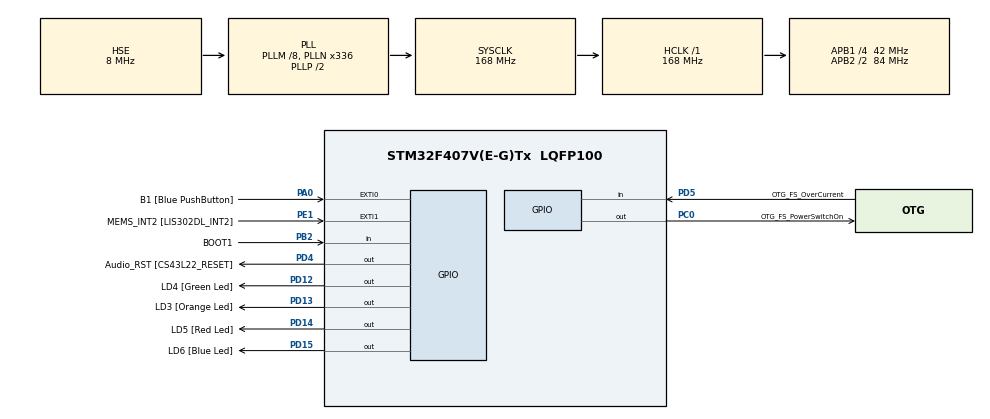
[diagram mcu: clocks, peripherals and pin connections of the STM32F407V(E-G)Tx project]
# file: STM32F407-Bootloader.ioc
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Mcu.Family=STM32F4
Mcu.Name=STM32F407V(E-G)Tx
Mcu.Package=LQFP100
NVIC.PriorityGroup=NVIC_PRIORITYGROUP_0
PA0-WKUP.GPIO_Label=B1 [Blue PushButton]
PA0-WKUP.GPIO_ModeDefaultEXTI=GPIO_MODE_EVT_RISING
PA0-WKUP.GPIO_PuPd=GPIO_NOPULL
PA0-WKUP.Signal=GPXTI0
PA10.GPIO_Label=OTG_FS_ID
PA10.GPIO_Mode=GPIO_MODE_AF_PP
PA10.GPIO_PuPd=GPIO_NOPULL
PA10.GPIO_Speed=GPIO_SPEED_FREQ_LOW
PA10.Signal=USB_OTG_FS_ID
PA11.GPIO_Label=OTG_FS_DM
PA11.GPIO_Mode=GPIO_MODE_AF_PP
PA11.GPIO_PuPd=GPIO_NOPULL
PA11.GPIO_Speed=GPIO_SPEED_FREQ_LOW
PA11.Signal=USB_OTG_FS_DM
PA12.GPIO_Label=OTG_FS_DP
PA12.GPIO_Mode=GPIO_MODE_AF_PP
PA12.GPIO_PuPd=GPIO_NOPULL
PA12.GPIO_Speed=GPIO_SPEED_FREQ_LOW
PA12.Signal=USB_OTG_FS_DP
PA13.GPIO_Label=SWDIO
PA13.Mode=Serial_Wire
PA13.Signal=SYS_JTMS-SWDIO
PA14.GPIO_Label=SWCLK
PA14.Mode=Serial_Wire
PA14.Signal=SYS_JTCK-SWCLK
PA4.GPIO_Label=I2S3_WS [CS43L22_LRCK]
PA4.GPIO_Mode=GPIO_MODE_AF_PP
PA4.GPIO_PuPd=GPIO_NOPULL
PA4.GPIO_Speed=GPIO_SPEED_FREQ_LOW
PA4.Signal=I2S3_WS
PA5.GPIO_Label=SPI1_SCK [LIS302DL_SCL/SPC]
PA5.GPIO_Mode=GPIO_MODE_AF_PP
PA5.GPIO_PuPd=GPIO_NOPULL
PA5.GPIO_Speed=GPIO_SPEED_FREQ_LOW
PA5.Signal=SPI1_SCK
PA6.GPIO_Label=SPI1_MISO [LIS302DL_SDO]
PA6.GPIO_Mode=GPIO_MODE_AF_PP
PA6.GPIO_PuPd=GPIO_NOPULL
PA6.GPIO_Speed=GPIO_SPEED_FREQ_LOW
PA6.Signal=SPI1_MISO
PA7.GPIO_Label=SPI1_MOSI [LIS302DL_SDA/SDI/SDO]
PA7.GPIO_Mode=GPIO_MODE_AF_PP
PA7.GPIO_PuPd=GPIO_NOPULL
PA7.GPIO_Speed=GPIO_SPEED_FREQ_LOW
PA7.Signal=SPI1_MOSI
PA9.GPIO_Label=VBUS_FS
PA9.GPIO_Mode=GPIO_MODE_INPUT
PA9.GPIO_PuPd=GPIO_NOPULL
PA9.Signal=USB_OTG_FS_VBUS
PB10.GPIO_Label=CLK_IN [MP45DT02_CLK]
PB10.GPIO_Mode=GPIO_MODE_AF_PP
PB10.GPIO_PuPd=GPIO_NOPULL
PB10.GPIO_Speed=GPIO_SPEED_FREQ_LOW
PB10.Signal=I2S2_CK
PB2.GPIO_Label=BOOT1
PB2.GPIO_Mode=GPIO_MODE_INPUT
PB2.GPIO_PuPd=GPIO_NOPULL
PB2.Signal=GPIO_Input
PB3.GPIO_Label=SWO
PB3.Signal=SYS_JTDO-SWO
PB6.GPIO_Label=Audio_SCL [CS43L22_SCL]
PB6.GPIO_Mode=GPIO_MODE_AF_OD
PB6.GPIO_PuPd=GPIO_NOPULL
PB6.GPIO_Speed=GPIO_SPEED_FREQ_LOW
PB6.Signal=I2C1_SCL
PB9.GPIO_Label=Audio_SDA [CS43L22_SDA]
PB9.GPIO_Mode=GPIO_MODE_AF_OD
PB9.GPIO_PuPd=GPIO_NOPULL
PB9.GPIO_Speed=GPIO_SPEED_FREQ_LOW
PB9.Signal=I2C1_SDA
PC0.GPIO_Label=OTG_FS_PowerSwitchOn
PC0.GPIO_PuPd=GPIO_NOPULL
PC0.GPIO_Speed=GPIO_SPEED_FREQ_LOW
PC0.PinState=GPIO_PIN_SET
PC0.Signal=GPIO_Output
PC10.GPIO_Label=I2S3_SCK [CS43L22_SCLK]
PC10.GPIO_Mode=GPIO_MODE_AF_PP
PC10.GPIO_PuPd=GPIO_NOPULL
PC10.GPIO_Speed=GPIO_SPEED_FREQ_LOW
PC10.Signal=I2S3_CK
PC12.GPIO_Label=I2S3_SD [CS43L22_SDIN]
PC12.GPIO_Mode=GPIO_MODE_AF_PP
PC12.GPIO_PuPd=GPIO_NOPULL
PC12.GPIO_Speed=GPIO_SPEED_FREQ_LOW
PC12.Signal=I2S3_SD
PC14-OSC32_IN.GPIO_Label=PC14-OSC32_IN
PC14-OSC32_IN.Mode=LSE-External-Oscillator
PC14-OSC32_IN.Signal=RCC_OSC32_IN
PC15-OSC32_OUT.GPIO_Label=PC15-OSC32_OUT
PC15-OSC32_OUT.Mode=LSE-External-Oscillator
PC15-OSC32_OUT.Signal=RCC_OSC32_OUT
PC3.GPIO_Label=PDM_OUT [MP45DT02_DOUT]
PC3.GPIO_Mode=GPIO_MODE_AF_PP
PC3.GPIO_PuPd=GPIO_NOPULL
PC3.GPIO_Speed=GPIO_SPEED_FREQ_LOW
PC3.Signal=I2S2_SD
PC7.GPIO_Label=I2S3_MCK [CS43L22_MCLK]
PC7.GPIO_Mode=GPIO_MODE_AF_PP
PC7.GPIO_PuPd=GPIO_NOPULL
PC7.GPIO_Speed=GPIO_SPEED_FREQ_LOW
PC7.Signal=I2S3_MCK
PD12.GPIO_Label=LD4 [Green Led]
PD12.GPIO_PuPd=GPIO_NOPULL
PD12.GPIO_Speed=GPIO_SPEED_FREQ_LOW
PD12.PinState=GPIO_PIN_SET
PD12.Signal=GPIO_Output
PD13.GPIO_Label=LD3 [Orange Led]
PD13.GPIO_PuPd=GPIO_NOPULL
PD13.GPIO_Speed=GPIO_SPEED_FREQ_LOW
PD13.Signal=GPIO_Output
PD14.GPIO_Label=LD5 [Red Led]
PD14.GPIO_PuPd=GPIO_NOPULL
PD14.GPIO_Speed=GPIO_SPEED_FREQ_LOW
PD14.Signal=GPIO_Output
PD15.GPIO_Label=LD6 [Blue Led]
PD15.GPIO_PuPd=GPIO_NOPULL
PD15.GPIO_Speed=GPIO_SPEED_FREQ_LOW
PD15.Signal=GPIO_Output
PD4.GPIO_Label=Audio_RST [CS43L22_RESET]
PD4.GPIO_PuPd=GPIO_NOPULL
PD4.GPIO_Speed=GPIO_SPEED_FREQ_LOW
PD4.Signal=GPIO_Output
PD5.GPIO_Label=OTG_FS_OverCurrent
PD5.GPIO_Mode=GPIO_MODE_INPUT
PD5.GPIO_PuPd=GPIO_NOPULL
PD5.Signal=GPIO_Input
PE1.GPIO_Label=MEMS_INT2 [LIS302DL_INT2]
PE1.GPIO_ModeDefaultEXTI=GPIO_MODE_EVT_RISING
PE1.GPIO_PuPd=GPIO_NOPULL
PE1.Signal=GPXTI1
PH0-OSC_IN.GPIO_Label=PH0-OSC_IN
PH0-OSC_IN.Mode=HSE-External-Oscillator
PH0-OSC_IN.Signal=RCC_OSC_IN
PH1-OSC_OUT.GPIO_Label=PH1-OSC_OUT
PH1-OSC_OUT.Mode=HSE-External-Oscillator
PH1-OSC_OUT.Signal=RCC_OSC_OUT
ProjectManager.HeapSize=0x200
ProjectManager.StackSize=0x400
ProjectManager.TargetToolchain=STM32CubeIDE
RCC.48MHZClocksFreq_Value=48000000
RCC.AHBFreq_Value=168000000
RCC.APB1CLKDivider=RCC_HCLK_DIV4
RCC.APB1Freq_Value=42000000
RCC.APB1TimFreq_Value=84000000
RCC.APB2CLKDivider=RCC_HCLK_DIV2
RCC.APB2Freq_Value=84000000
RCC.APB2TimFreq_Value=168000000
RCC.CortexFreq_Value=168000000
RCC.HCLKFreq_Value=168000000
RCC.HSE_VALUE=8000000
RCC.HSI_VALUE=16000000
RCC.PLLM=8
RCC.PLLN=336
RCC.PLLQ=7
RCC.PLLSourceVirtual=RCC_PLLSOURCE_HSE
RCC.SYSCLKFreq_VALUE=168000000
RCC.SYSCLKSource=RCC_SYSCLKSOURCE_PLLCLK
RCC.VCOOutputFreq_Value=336000000
board=STM32F407G-DISC1

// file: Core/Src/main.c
/* USER CODE BEGIN Header */
/**
  ******************************************************************************
  * @file           : main.c
  * @brief          : Main program body
  ******************************************************************************
  * @attention
  *
  * <h2><center>&copy; Copyright (c) 2022 STMicroelectronics.
  * All rights reserved.</center></h2>
  *
  * This software component is licensed by ST under BSD 3-Clause license,
  * the "License"; You may not use this file except in compliance with the
  * License. You may obtain a copy of the License at:
  *                        opensource.org/licenses/BSD-3-Clause
  *
  ******************************************************************************
  */
/* USER CODE END Header */
#include "main.h"

/* USER CODE BEGIN PM */
#define LED_FLASH_COUNT 5u
/* USER CODE END PM */

void SystemClock_Config(void);
static void MX_GPIO_Init(void);
/* USER CODE BEGIN PFP */
void delay(void);
/* USER CODE END PFP */

int main(void)
{

  /* MCU Configuration--------------------------------------------------------*/

  /* Reset of all peripherals, Initializes the Flash interface and the Systick. */
  HAL_Init();

  /* Configure the system clock */
  SystemClock_Config();

  /* Initialize all configured peripherals */
  MX_GPIO_Init();

  /* Infinite loop */
  /* USER CODE BEGIN WHILE */
  while (1)
  {
	  /* Local variable to be used in delay */
	  int i;

    /* USER CODE END WHILE */

    /* USER CODE BEGIN 3 */
	  for(i=0;i<LED_FLASH_COUNT;i++)
	  {
		  /*Configure GPIO pin Output Level */
		  HAL_GPIO_WritePin(LD4_GPIO_Port, LD4_Pin, GPIO_PIN_RESET);

		  /* delay to keep LED off */
		  delay();

		  /*Configure GPIO pin Output Level */
		  HAL_GPIO_WritePin(LD4_GPIO_Port, LD4_Pin, GPIO_PIN_SET);

		  /* Delay to keep LED ON  */
		  delay();
	  }
	  HAL_GPIO_WritePin(LD4_GPIO_Port, LD4_Pin, GPIO_PIN_RESET);
	  for(i=0;i<LED_FLASH_COUNT;i++)
	  {
		  /*Configure GPIO pin Output Level */
		  HAL_GPIO_WritePin(LD4_GPIO_Port, LD6_Pin, GPIO_PIN_RESET);
		  HAL_GPIO_WritePin(LD4_GPIO_Port, LD3_Pin, GPIO_PIN_RESET);

		  /* delay to keep LED off */
		  delay();

		  /*Configure GPIO pin Output Level */
		  HAL_GPIO_WritePin(LD4_GPIO_Port, LD6_Pin, GPIO_PIN_SET);
		  HAL_GPIO_WritePin(LD4_GPIO_Port, LD3_Pin, GPIO_PIN_SET);
		  /* Delay to keep LED ON  */
		  delay();
	  }
	  HAL_GPIO_WritePin(LD4_GPIO_Port, LD6_Pin, GPIO_PIN_RESET);
	  HAL_GPIO_WritePin(LD4_GPIO_Port, LD3_Pin, GPIO_PIN_RESET);
	  for(i=0;i<LED_FLASH_COUNT;i++)
	  {
		  /*Configure GPIO pin Output Level */
		  HAL_GPIO_WritePin(LD4_GPIO_Port, LD5_Pin, GPIO_PIN_RESET);

		  /* delay to keep LED off */
		  delay();

		  /*Configure GPIO pin Output Level */
		  HAL_GPIO_WritePin(LD4_GPIO_Port, LD5_Pin, GPIO_PIN_SET);

		  /* Delay to keep LED ON  */
		  delay();
	  }
	  HAL_GPIO_WritePin(LD4_GPIO_Port, LD5_Pin, GPIO_PIN_RESET);
	  for(i=0;i<LED_FLASH_COUNT;i++)
	  {
		  /*Configure GPIO pin Output Level */
		  HAL_GPIO_WritePin(LD4_GPIO_Port, LD6_Pin, GPIO_PIN_RESET);
		  HAL_GPIO_WritePin(LD4_GPIO_Port, LD3_Pin, GPIO_PIN_RESET);

		  /* delay to keep LED off */
		  delay();

		  /*Configure GPIO pin Output Level */
		  HAL_GPIO_WritePin(LD4_GPIO_Port, LD6_Pin, GPIO_PIN_SET);
		  HAL_GPIO_WritePin(LD4_GPIO_Port, LD3_Pin, GPIO_PIN_SET);
		  /* Delay to keep LED ON  */
		  delay();
	  }
	  HAL_GPIO_WritePin(LD4_GPIO_Port, LD6_Pin, GPIO_PIN_RESET);
	  HAL_GPIO_WritePin(LD4_GPIO_Port, LD3_Pin, GPIO_PIN_RESET);
  }
  /* USER CODE END 3 */
}

void delay(void)
{
	int i,j;
	for(i=0;i<200u;i++)
	  for(j=0;j<3000u;j++);
}

void SystemClock_Config(void)
{
  RCC_OscInitTypeDef RCC_OscInitStruct = {0};
  RCC_ClkInitTypeDef RCC_ClkInitStruct = {0};

  /** Configure the main internal regulator output voltage
  */
  __HAL_RCC_PWR_CLK_ENABLE();
  __HAL_PWR_VOLTAGESCALING_CONFIG(PWR_REGULATOR_VOLTAGE_SCALE1);
  /** Initializes the RCC Oscillators according to the specified parameters
  * in the RCC_OscInitTypeDef structure.
  */
  RCC_OscInitStruct.OscillatorType = RCC_OSCILLATORTYPE_HSE;
  RCC_OscInitStruct.HSEState = RCC_HSE_ON;
  RCC_OscInitStruct.PLL.PLLState = RCC_PLL_ON;
  RCC_OscInitStruct.PLL.PLLSource = RCC_PLLSOURCE_HSE;
  RCC_OscInitStruct.PLL.PLLM = 8;
  RCC_OscInitStruct.PLL.PLLN = 336;
  RCC_OscInitStruct.PLL.PLLP = RCC_PLLP_DIV2;
  RCC_OscInitStruct.PLL.PLLQ = 7;
  if (HAL_RCC_OscConfig(&RCC_OscInitStruct) != HAL_OK)
  {
    Error_Handler();
  }
  /** Initializes the CPU, AHB and APB buses clocks
  */
  RCC_ClkInitStruct.ClockType = RCC_CLOCKTYPE_HCLK|RCC_CLOCKTYPE_SYSCLK
                              |RCC_CLOCKTYPE_PCLK1|RCC_CLOCKTYPE_PCLK2;
  RCC_ClkInitStruct.SYSCLKSource = RCC_SYSCLKSOURCE_PLLCLK;
  RCC_ClkInitStruct.AHBCLKDivider = RCC_SYSCLK_DIV1;
  RCC_ClkInitStruct.APB1CLKDivider = RCC_HCLK_DIV4;
  RCC_ClkInitStruct.APB2CLKDivider = RCC_HCLK_DIV2;

  if (HAL_RCC_ClockConfig(&RCC_ClkInitStruct, FLASH_LATENCY_5) != HAL_OK)
  {
    Error_Handler();
  }
}

static void MX_GPIO_Init(void)
{
  GPIO_InitTypeDef GPIO_InitStruct = {0};

  /* GPIO Ports Clock Enable */
  __HAL_RCC_GPIOC_CLK_ENABLE();
  __HAL_RCC_GPIOH_CLK_ENABLE();
  __HAL_RCC_GPIOA_CLK_ENABLE();
  __HAL_RCC_GPIOB_CLK_ENABLE();
  __HAL_RCC_GPIOD_CLK_ENABLE();
  __HAL_RCC_GPIOE_CLK_ENABLE();

  /*Configure GPIO pin Output Level */
  HAL_GPIO_WritePin(OTG_FS_PowerSwitchOn_GPIO_Port, OTG_FS_PowerSwitchOn_Pin, GPIO_PIN_SET);

  /*Configure GPIO pin Output Level */
  HAL_GPIO_WritePin(LD4_GPIO_Port, LD4_Pin, GPIO_PIN_SET);

  /*Configure GPIO pin Output Level */
  HAL_GPIO_WritePin(GPIOD, LD3_Pin|LD5_Pin|LD6_Pin|Audio_RST_Pin, GPIO_PIN_RESET);

  /*Configure GPIO pin : OTG_FS_PowerSwitchOn_Pin */
  GPIO_InitStruct.Pin = OTG_FS_PowerSwitchOn_Pin;
  GPIO_InitStruct.Mode = GPIO_MODE_OUTPUT_PP;
  GPIO_InitStruct.Pull = GPIO_NOPULL;
  GPIO_InitStruct.Speed = GPIO_SPEED_FREQ_LOW;
  HAL_GPIO_Init(OTG_FS_PowerSwitchOn_GPIO_Port, &GPIO_InitStruct);

  /*Configure GPIO pin : PDM_OUT_Pin */
  GPIO_InitStruct.Pin = PDM_OUT_Pin;
  GPIO_InitStruct.Mode = GPIO_MODE_AF_PP;
  GPIO_InitStruct.Pull = GPIO_NOPULL;
  GPIO_InitStruct.Speed = GPIO_SPEED_FREQ_LOW;
  GPIO_InitStruct.Alternate = GPIO_AF5_SPI2;
  HAL_GPIO_Init(PDM_OUT_GPIO_Port, &GPIO_InitStruct);

  /*Configure GPIO pin : B1_Pin */
  GPIO_InitStruct.Pin = B1_Pin;
  GPIO_InitStruct.Mode = GPIO_MODE_EVT_RISING;
  GPIO_InitStruct.Pull = GPIO_NOPULL;
  HAL_GPIO_Init(B1_GPIO_Port, &GPIO_InitStruct);

  /*Configure GPIO pin : I2S3_WS_Pin */
  GPIO_InitStruct.Pin = I2S3_WS_Pin;
  GPIO_InitStruct.Mode = GPIO_MODE_AF_PP;
  GPIO_InitStruct.Pull = GPIO_NOPULL;
  GPIO_InitStruct.Speed = GPIO_SPEED_FREQ_LOW;
  GPIO_InitStruct.Alternate = GPIO_AF6_SPI3;
  HAL_GPIO_Init(I2S3_WS_GPIO_Port, &GPIO_InitStruct);

  /*Configure GPIO pins : SPI1_SCK_Pin SPI1_MISO_Pin SPI1_MOSI_Pin */
  GPIO_InitStruct.Pin = SPI1_SCK_Pin|SPI1_MISO_Pin|SPI1_MOSI_Pin;
  GPIO_InitStruct.Mode = GPIO_MODE_AF_PP;
  GPIO_InitStruct.Pull = GPIO_NOPULL;
  GPIO_InitStruct.Speed = GPIO_SPEED_FREQ_LOW;
  GPIO_InitStruct.Alternate = GPIO_AF5_SPI1;
  HAL_GPIO_Init(GPIOA, &GPIO_InitStruct);

  /*Configure GPIO pin : BOOT1_Pin */
  GPIO_InitStruct.Pin = BOOT1_Pin;
  GPIO_InitStruct.Mode = GPIO_MODE_INPUT;
  GPIO_InitStruct.Pull = GPIO_NOPULL;
  HAL_GPIO_Init(BOOT1_GPIO_Port, &GPIO_InitStruct);

  /*Configure GPIO pin : CLK_IN_Pin */
  GPIO_InitStruct.Pin = CLK_IN_Pin;
  GPIO_InitStruct.Mode = GPIO_MODE_AF_PP;
  GPIO_InitStruct.Pull = GPIO_NOPULL;
  GPIO_InitStruct.Speed = GPIO_SPEED_FREQ_LOW;
  GPIO_InitStruct.Alternate = GPIO_AF5_SPI2;
  HAL_GPIO_Init(CLK_IN_GPIO_Port, &GPIO_InitStruct);

  /*Configure GPIO pins : LD4_Pin LD3_Pin LD5_Pin LD6_Pin
                           Audio_RST_Pin */
  GPIO_InitStruct.Pin = LD4_Pin|LD3_Pin|LD5_Pin|LD6_Pin
                          |Audio_RST_Pin;
  GPIO_InitStruct.Mode = GPIO_MODE_OUTPUT_PP;
  GPIO_InitStruct.Pull = GPIO_NOPULL;
  GPIO_InitStruct.Speed = GPIO_SPEED_FREQ_LOW;
  HAL_GPIO_Init(GPIOD, &GPIO_InitStruct);

  /*Configure GPIO pins : I2S3_MCK_Pin I2S3_SCK_Pin I2S3_SD_Pin */
  GPIO_InitStruct.Pin = I2S3_MCK_Pin|I2S3_SCK_Pin|I2S3_SD_Pin;
  GPIO_InitStruct.Mode = GPIO_MODE_AF_PP;
  GPIO_InitStruct.Pull = GPIO_NOPULL;
  GPIO_InitStruct.Speed = GPIO_SPEED_FREQ_LOW;
  GPIO_InitStruct.Alternate = GPIO_AF6_SPI3;
  HAL_GPIO_Init(GPIOC, &GPIO_InitStruct);

  /*Configure GPIO pin : VBUS_FS_Pin */
  GPIO_InitStruct.Pin = VBUS_FS_Pin;
  GPIO_InitStruct.Mode = GPIO_MODE_INPUT;
  GPIO_InitStruct.Pull = GPIO_NOPULL;
  HAL_GPIO_Init(VBUS_FS_GPIO_Port, &GPIO_InitStruct);

  /*Configure GPIO pins : OTG_FS_ID_Pin OTG_FS_DM_Pin OTG_FS_DP_Pin */
  GPIO_InitStruct.Pin = OTG_FS_ID_Pin|OTG_FS_DM_Pin|OTG_FS_DP_Pin;
  GPIO_InitStruct.Mode = GPIO_MODE_AF_PP;
  GPIO_InitStruct.Pull = GPIO_NOPULL;
  GPIO_InitStruct.Speed = GPIO_SPEED_FREQ_LOW;
  GPIO_InitStruct.Alternate = GPIO_AF10_OTG_FS;
  HAL_GPIO_Init(GPIOA, &GPIO_InitStruct);

  /*Configure GPIO pin : OTG_FS_OverCurrent_Pin */
  GPIO_InitStruct.Pin = OTG_FS_OverCurrent_Pin;
  GPIO_InitStruct.Mode = GPIO_MODE_INPUT;
  GPIO_InitStruct.Pull = GPIO_NOPULL;
  HAL_GPIO_Init(OTG_FS_OverCurrent_GPIO_Port, &GPIO_InitStruct);

  /*Configure GPIO pins : Audio_SCL_Pin Audio_SDA_Pin */
  GPIO_InitStruct.Pin = Audio_SCL_Pin|Audio_SDA_Pin;
  GPIO_InitStruct.Mode = GPIO_MODE_AF_OD;
  GPIO_InitStruct.Pull = GPIO_PULLUP;
  GPIO_InitStruct.Speed = GPIO_SPEED_FREQ_LOW;
  GPIO_InitStruct.Alternate = GPIO_AF4_I2C1;
  HAL_GPIO_Init(GPIOB, &GPIO_InitStruct);

  /*Configure GPIO pin : MEMS_INT2_Pin */
  GPIO_InitStruct.Pin = MEMS_INT2_Pin;
  GPIO_InitStruct.Mode = GPIO_MODE_EVT_RISING;
  GPIO_InitStruct.Pull = GPIO_NOPULL;
  HAL_GPIO_Init(MEMS_INT2_GPIO_Port, &GPIO_InitStruct);

}

void Error_Handler(void)
{
  __disable_irq();
  while (1)
  {
  }
}

/************************ (C) COPYRIGHT STMicroelectronics *****END OF FILE****/
